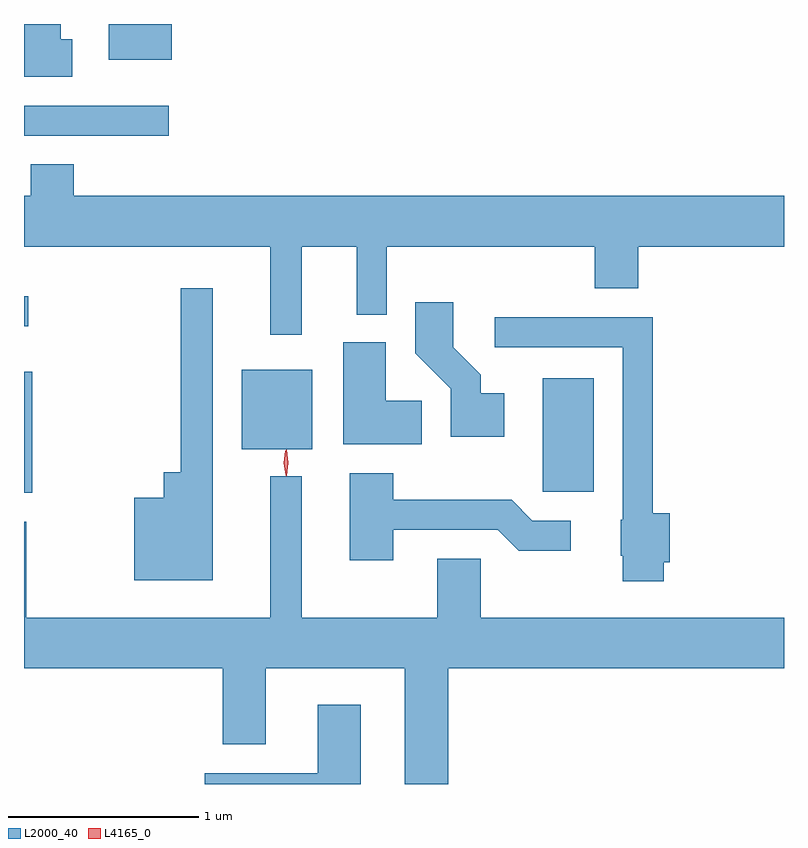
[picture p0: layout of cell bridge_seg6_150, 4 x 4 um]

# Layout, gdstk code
import gdstk
lib = gdstk.Library(unit=1e-6, precision=1e-09)
def R(c, l, rs):  # rectangles x0, y0, x1, y1
    for r in rs: c.add(gdstk.rectangle(r[:2], r[2:], *l))
def P(c, l, *ps):  # polygons
    for p in ps: c.add(gdstk.Polygon(p, *l))
L2000_40 = (2000, 40)
L4165_0 = (4165, 0)

bridge_seg6_150 = lib.new_cell('bridge_seg6_150')
R(bridge_seg6_150, L2000_40, [(1185.226,1586.481,1185.269,1587.119), (1187.956,1586.486,1188.224,1587.084), (1186.371,1586.711,1186.744,1587.129), (1185.226,1587.356,1185.248,1587.514), (1185.226,1588.361,1185.988,1588.519), (1185.671,1588.761,1186.004,1588.948)])
P(bridge_seg6_150, L2000_40, [(1185.479,1588.869),(1185.419,1588.869),(1185.419,1588.948),(1185.226,1588.948),(1185.226,1588.671),(1185.479,1588.671)],
  [(1186.689,1587.776),(1186.976,1587.776),(1186.976,1587.418),(1187.134,1587.418),(1187.134,1587.776),(1188.231,1587.776),(1188.231,1587.556),(1188.459,1587.556),(1188.459,1587.776),(1189.226,1587.776),(1189.226,1588.044),(1185.489,1588.044),(1185.489,1588.209),(1185.261,1588.209),(1185.261,1588.044),(1185.226,1588.044),(1185.226,1587.776),(1186.521,1587.776),(1186.521,1587.313),(1186.689,1587.313)],
  [(1186.219,1587.558),(1186.051,1587.558),(1186.051,1586.589),(1185.961,1586.589),(1185.961,1586.454),(1185.806,1586.454),(1185.806,1586.021),(1186.219,1586.021)],
  [(1187.754,1587.004),(1187.629,1587.004),(1187.629,1587.102),(1187.484,1587.247),(1187.484,1587.484),(1187.286,1587.484),(1187.286,1587.214),(1187.471,1587.029),(1187.471,1586.776),(1187.754,1586.776)],
  [(1188.594,1586.116),(1188.624,1586.116),(1188.624,1586.374),(1188.534,1586.374),(1188.534,1587.404),(1187.703,1587.404),(1187.703,1587.246),(1188.376,1587.246),(1188.376,1586.34),(1188.366,1586.34),(1188.366,1586.15),(1188.376,1586.15),(1188.376,1586.016),(1188.594,1586.016)],
  [(1187.319,1586.964),(1187.129,1586.964),(1187.129,1587.274),(1186.906,1587.274),(1186.906,1586.736),(1187.319,1586.736)],
  [(1187.169,1586.286),(1187.719,1586.286),(1187.829,1586.176),(1188.103,1586.176),(1188.103,1586.334),(1187.902,1586.334),(1187.792,1586.444),(1187.169,1586.444),(1187.169,1586.584),(1186.941,1586.584),(1186.941,1586.126),(1187.169,1586.126)],
  [(1187.459,1585.556),(1189.226,1585.556),(1189.226,1585.824),(1187.629,1585.824),(1187.629,1586.134),(1187.401,1586.134),(1187.401,1585.824),(1186.689,1585.824),(1186.689,1586.568),(1186.521,1586.568),(1186.521,1585.824),(1185.239,1585.824),(1185.239,1586.329),(1185.226,1586.329),(1185.226,1585.556),(1186.271,1585.556),(1186.271,1585.156),(1186.499,1585.156),(1186.499,1585.556),(1187.231,1585.556),(1187.231,1584.948),(1187.459,1584.948)],
  [(1186.999,1585.364),(1186.771,1585.364),(1186.771,1585.004),(1186.176,1585.004),(1186.176,1584.948),(1186.999,1584.948)])
P(bridge_seg6_150, L4165_0, [(1186.607,1586.569),(1186.606,1586.57),(1186.597,1586.638),(1186.606,1586.706),(1186.607,1586.706),(1186.608,1586.706),(1186.617,1586.638),(1186.608,1586.57)],
  [(1186.603,1586.573),(1186.593,1586.637),(1186.602,1586.702),(1186.603,1586.702),(1186.603,1586.702),(1186.613,1586.637),(1186.604,1586.573),(1186.604,1586.573)])

lib.write_gds('bridge_seg6_150.gds')
